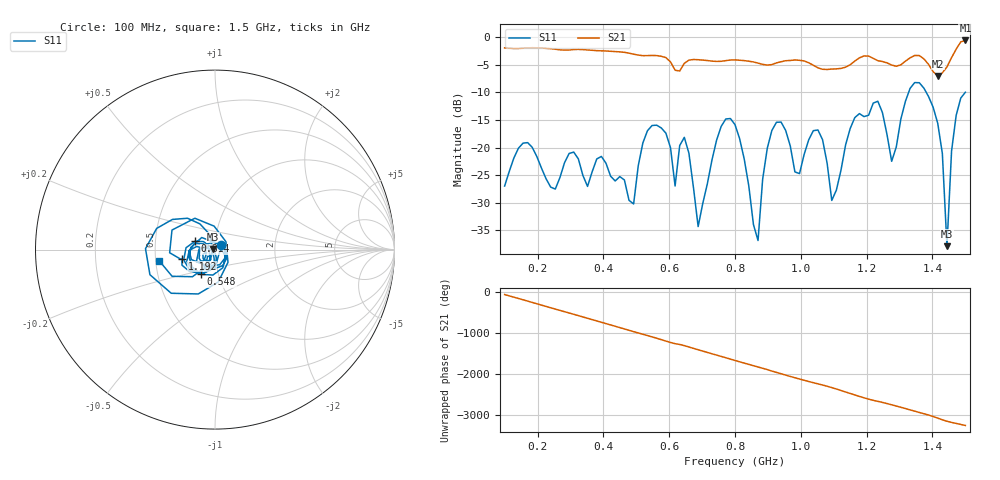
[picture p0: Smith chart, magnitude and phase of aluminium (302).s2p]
! NanoVNA-App
! Date: 2025-09-25 14:57:38
! Start: 100MHz Stop: 1,5GHz Points: 101
! S-Parameter data: F S11 S21 S12 S22
# Hz S RI R 50
!  Frequency  S11_Real  S11_Imag  S21_Real  S21_Imag  S12_Real  S12_Imag  S22_Real  S22_Imag
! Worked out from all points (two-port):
!   101 points, 100 MHz to 1.5 GHz, reference 50 ohm
!   highest |S21| = -0.58 dB at 1.5 GHz (marker M1); lowest = -7.0 dB at 1.416 GHz (marker M2)
!   |S21| within 3 dB of the highest: start of sweep to 583.7 MHz; 1.459 GHz to end of sweep (the widest 2 of 4)
!   lowest |S11| = -37.8 dB at 1.444 GHz (marker M3), VSWR 1.03, Z = 48.8 + j0.274 ohm
!   |S11| at or under -10 dB: start of sweep to 1.327 GHz; 1.381 GHz to 1.5 GHz (118.3 MHz wide, 8.22 % of centre)
!   S12 and S22 are empty: the file has one direction only
!   S11 on the Smith chart (normalised r, x): 100 MHz: 1.07, +0.06; 548 MHz: 0.82, -0.23; 814 MHz: 0.80, +0.07; 1.192 GHz: 0.69, -0.07; 1.5 GHz: 0.52, -0.07
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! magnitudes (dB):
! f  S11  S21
! 100 MHz  -27.0  -1.9
! 338 MHz  -25.1  -2.2
! 492 MHz  -30.2  -3.1
! 548 MHz  -16.0  -3.3
! 576 MHz  -16.4  -3.5
! 618 MHz  -26.9  -6.0
! 646 MHz  -18.1  -4.7
! 688 MHz  -34.3  -4.1
! 800 MHz  -15.8  -4.1
! 814 MHz  -18.4  -4.2
! 870 MHz  -36.8  -4.7
! 912 MHz  -16.9  -5.0
! 996 MHz  -24.7  -4.2
! 1.038 GHz  -16.9  -5.1
! 1.094 GHz  -29.6  -5.8
! 1.192 GHz  -14.4  -3.4
! 1.276 GHz  -22.5  -5.0
! 1.346 GHz  -8.2  -3.3
! 1.416 GHz  -15.6  -7.0
! 1.444 GHz  -37.8  -5.4
! 1.458 GHz  -20.6  -3.7
! 1.5 GHz  -10.0  -0.6
